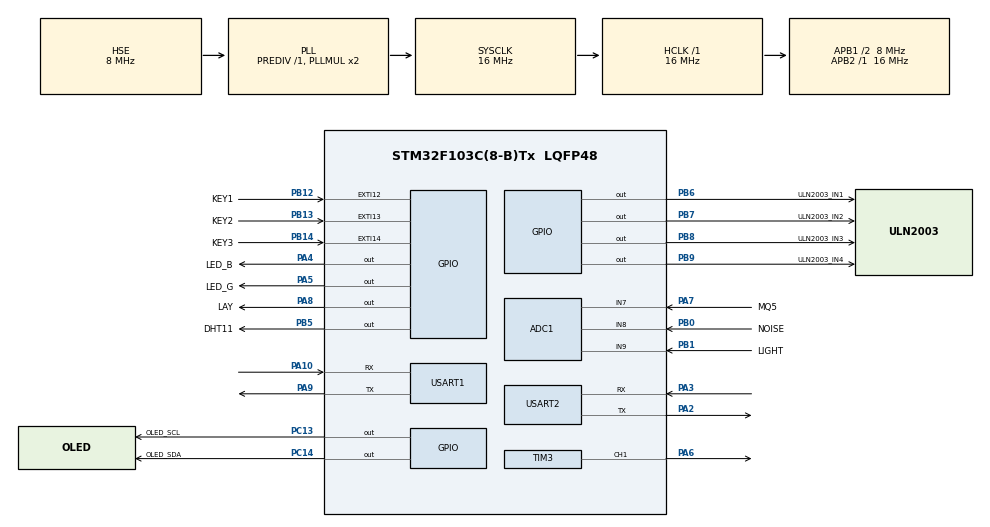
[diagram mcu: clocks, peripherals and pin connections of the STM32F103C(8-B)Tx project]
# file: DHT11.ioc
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ADC1.Channel-0\#ChannelRegularConversion=ADC_CHANNEL_7
ADC1.NbrOfConversion=1
ADC1.NbrOfConversionFlag=1
ADC1.Rank-0\#ChannelRegularConversion=1
ADC1.SamplingTime-0\#ChannelRegularConversion=ADC_SAMPLETIME_239CYCLES_5
ADC1.master=1
Mcu.Family=STM32F1
Mcu.Name=STM32F103C(8-B)Tx
Mcu.Package=LQFP48
NVIC.EXTI15_10_IRQn=true\:0\:0\:false\:false\:true\:true\:true\:true
NVIC.PriorityGroup=NVIC_PRIORITYGROUP_4
NVIC.USART2_IRQn=true\:2\:0\:true\:false\:true\:true\:true\:true
PA10.Mode=Asynchronous
PA10.Signal=USART1_RX
PA13.Mode=Serial_Wire
PA13.Signal=SYS_JTMS-SWDIO
PA14.Mode=Serial_Wire
PA14.Signal=SYS_JTCK-SWCLK
PA2.Mode=Asynchronous
PA2.Signal=USART2_TX
PA3.Mode=Asynchronous
PA3.Signal=USART2_RX
PA4.GPIO_Label=LED_B
PA4.GPIO_ModeDefaultOutputPP=GPIO_MODE_OUTPUT_PP
PA4.GPIO_PuPd=GPIO_PULLUP
PA4.GPIO_Speed=GPIO_SPEED_FREQ_HIGH
PA4.PinState=GPIO_PIN_SET
PA4.Signal=GPIO_Output
PA5.GPIO_Label=LED_G
PA5.GPIO_ModeDefaultOutputPP=GPIO_MODE_OUTPUT_PP
PA5.GPIO_PuPd=GPIO_PULLUP
PA5.GPIO_Speed=GPIO_SPEED_FREQ_HIGH
PA5.PinState=GPIO_PIN_SET
PA5.Signal=GPIO_Output
PA6.Signal=S_TIM3_CH1
PA7.GPIO_Label=MQ5
PA7.Signal=ADCx_IN7
PA8.GPIO_Label=LAY
PA8.GPIO_ModeDefaultOutputPP=GPIO_MODE_OUTPUT_PP
PA8.GPIO_PuPd=GPIO_PULLDOWN
PA8.GPIO_Speed=GPIO_SPEED_FREQ_HIGH
PA8.PinState=GPIO_PIN_SET
PA8.Signal=GPIO_Output
PA9.Mode=Asynchronous
PA9.Signal=USART1_TX
PB0.GPIO_Label=NOISE
PB0.Signal=ADCx_IN8
PB1.GPIO_Label=LIGHT
PB1.Signal=ADCx_IN9
PB12.GPIO_Label=KEY1
PB12.GPIO_ModeDefaultEXTI=GPIO_MODE_IT_FALLING
PB12.GPIO_PuPd=GPIO_PULLUP
PB12.Signal=GPXTI12
PB13.GPIO_Label=KEY2
PB13.GPIO_ModeDefaultEXTI=GPIO_MODE_IT_FALLING
PB13.GPIO_PuPd=GPIO_PULLUP
PB13.Signal=GPXTI13
PB14.GPIO_Label=KEY3
PB14.GPIO_ModeDefaultEXTI=GPIO_MODE_IT_FALLING
PB14.GPIO_PuPd=GPIO_PULLUP
PB14.Signal=GPXTI14
PB5.GPIO_Label=DHT11
PB5.GPIO_ModeDefaultOutputPP=GPIO_MODE_OUTPUT_PP
PB5.GPIO_PuPd=GPIO_PULLUP
PB5.GPIO_Speed=GPIO_SPEED_FREQ_HIGH
PB5.PinState=GPIO_PIN_SET
PB5.Signal=GPIO_Output
PB6.GPIO_Label=ULN2003_IN1
PB6.GPIO_PuPd=GPIO_PULLUP
PB6.GPIO_Speed=GPIO_SPEED_FREQ_HIGH
PB6.PinState=GPIO_PIN_SET
PB6.Signal=GPIO_Output
PB7.GPIO_Label=ULN2003_IN2
PB7.GPIO_ModeDefaultOutputPP=GPIO_MODE_OUTPUT_PP
PB7.GPIO_PuPd=GPIO_PULLUP
PB7.GPIO_Speed=GPIO_SPEED_FREQ_HIGH
PB7.PinState=GPIO_PIN_SET
PB7.Signal=GPIO_Output
PB8.GPIO_Label=ULN2003_IN3
PB8.GPIO_ModeDefaultOutputPP=GPIO_MODE_OUTPUT_PP
PB8.GPIO_PuPd=GPIO_PULLUP
PB8.GPIO_Speed=GPIO_SPEED_FREQ_HIGH
PB8.PinState=GPIO_PIN_SET
PB8.Signal=GPIO_Output
PB9.GPIO_Label=ULN2003_IN4
PB9.GPIO_ModeDefaultOutputPP=GPIO_MODE_OUTPUT_PP
PB9.GPIO_PuPd=GPIO_PULLUP
PB9.GPIO_Speed=GPIO_SPEED_FREQ_HIGH
PB9.PinState=GPIO_PIN_SET
PB9.Signal=GPIO_Output
PC13-TAMPER-RTC.GPIO_Label=OLED_SCL
PC13-TAMPER-RTC.GPIO_ModeDefaultOutputPP=GPIO_MODE_OUTPUT_PP
PC13-TAMPER-RTC.GPIO_PuPd=GPIO_PULLUP
PC13-TAMPER-RTC.GPIO_Speed=GPIO_SPEED_FREQ_HIGH
PC13-TAMPER-RTC.PinState=GPIO_PIN_SET
PC13-TAMPER-RTC.Signal=GPIO_Output
PC14-OSC32_IN.GPIO_Label=OLED_SDA
PC14-OSC32_IN.GPIO_ModeDefaultOutputPP=GPIO_MODE_OUTPUT_PP
PC14-OSC32_IN.GPIO_PuPd=GPIO_PULLUP
PC14-OSC32_IN.GPIO_Speed=GPIO_SPEED_FREQ_HIGH
PC14-OSC32_IN.PinState=GPIO_PIN_SET
PC14-OSC32_IN.Signal=GPIO_Output
PD0-OSC_IN.Mode=HSE-External-Oscillator
PD0-OSC_IN.Signal=RCC_OSC_IN
PD1-OSC_OUT.Mode=HSE-External-Oscillator
PD1-OSC_OUT.Signal=RCC_OSC_OUT
ProjectManager.HeapSize=0x200
ProjectManager.StackSize=0x400
ProjectManager.TargetToolchain=MDK-ARM V5.32
RCC.AHBFreq_Value=16000000
RCC.APB1CLKDivider=RCC_HCLK_DIV2
RCC.APB1Freq_Value=8000000
RCC.APB1TimFreq_Value=16000000
RCC.APB2Freq_Value=16000000
RCC.APB2TimFreq_Value=16000000
RCC.HCLKFreq_Value=16000000
RCC.PLLSourceVirtual=RCC_PLLSOURCE_HSE
RCC.SYSCLKFreq_VALUE=16000000
RCC.SYSCLKSource=RCC_SYSCLKSOURCE_PLLCLK
RCC.USBFreq_Value=16000000
SH.ADCx_IN7.0=ADC1_IN7,IN7
SH.ADCx_IN8.0=ADC1_IN8,IN8
SH.ADCx_IN9.0=ADC1_IN9,IN9
SH.S_TIM3_CH1.0=TIM3_CH1,PWM Generation1 CH1
TIM3.AutoReloadPreload=TIM_AUTORELOAD_PRELOAD_ENABLE
TIM3.Channel-PWM\ Generation1\ CH1=TIM_CHANNEL_1
TIM3.Period=999
TIM3.Prescaler=71
USART1.VirtualMode=VM_ASYNC
USART2.VirtualMode=VM_ASYNC
VP_TIM3_VS_ClockSourceINT.Mode=Internal
board=custom

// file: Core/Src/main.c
/* USER CODE BEGIN Header */
/**
  ******************************************************************************
  * @file           : main.c
  * @brief          : Main program body
  ******************************************************************************
  * @attention
  *
  * Copyright (c) 2026 STMicroelectronics.
  * All rights reserved.
  *
  * This software is licensed under terms that can be found in the LICENSE file
  * in the root directory of this software component.
  * If no LICENSE file comes with this software, it is provided AS-IS.
  *
  ******************************************************************************
  */
/* USER CODE END Header */
#include "main.h"
#include "adc.h"
#include "tim.h"
#include "usart.h"
#include "gpio.h"

/* USER CODE BEGIN Includes */
#include "dht11.h"
#include "oled.h"
#include "uln2003.h"
#include "stm32f1xx_hal_flash.h"
#include "stm32f1xx_hal_flash_ex.h"
/* USER CODE END Includes */

/* USER CODE BEGIN PD */
#define KEY_DEBOUNCE_MS 200

// Flash存储地址 (使用倒数第2页，避免覆盖程序代码)
// STM32F103C8T6有128页，每页1KB
#define FLASH_STORAGE_ADDR  0x0801F000  // 第126页起始地址
#define FLASH_MAGIC_NUMBER  0x1234ABCD  // 魔数，用于验证数据有效性

// Flash数据结构
typedef struct {
    uint32_t magic;          // 魔数
    uint8_t temp_threshold;  // 温度阈值
    uint8_t humidity_threshold; // 湿度阈值
    uint16_t mq5_threshold;  // MQ5阈值
    uint16_t noise_threshold; // 噪声阈值
    uint16_t light_threshold; // 光照阈值
    uint32_t checksum;       // 校验和
} Flash_Data_t;
/* USER CODE END PD */

/* USER CODE BEGIN PV */
// 阈值变量（可在设置界面修改）
volatile uint16_t noise_threshold = 2000;
volatile uint16_t light_threshold = 300;
volatile uint16_t mq5_threshold = 2000;
volatile uint8_t humidity_threshold = 90;
volatile uint8_t temp_threshold = 20;

// 设置界面状态
volatile uint8_t setting_mode = 0;      // 0:主界面, 1:设置界面
volatile uint8_t setting_item = 0;      // 0:温度, 1:湿度, 2:MQ5, 3:noise, 4:light, 5:退出

// 按键消抖标志
volatile uint8_t key1_pressed = 0;
volatile uint8_t key2_pressed = 0;
volatile uint8_t key3_pressed = 0;
volatile uint32_t key_debounce_time = 0;
/* USER CODE END PV */

void SystemClock_Config(void);

/* USER CODE BEGIN 0 */
// 简单步进电机测试 - 4拍驱动
const uint8_t motor_seq[4] = {0x01, 0x02, 0x04, 0x08}; // IN1, IN2, IN3, IN4

// 步进电机标志
uint8_t stepper_flag = 0;

// USART2中断接收变量
extern uint8_t rx_data;
extern uint8_t rx_index;
extern uint8_t rx_buffer[];
extern uint32_t last_rx_time;
#define RX_TIMEOUT_MS 1000

// 函数声明
void Show_Main_Interface(void);
void Show_Setting_Interface(void);
void Update_Setting_Value(void);
void Update_Setting_Indicator(void);
void Process_Setting(void);
void Stepper_Test(void);
void Flash_Save_Thresholds(void);
void Flash_Load_Thresholds(void);
uint32_t Calculate_Checksum(Flash_Data_t *data);

// 计算校验和
uint32_t Calculate_Checksum(Flash_Data_t *data)
{
    uint32_t checksum = 0;
    checksum += data->magic;
    checksum += data->temp_threshold;
    checksum += data->humidity_threshold;
    checksum += data->mq5_threshold;
    checksum += data->noise_threshold;
    checksum += data->light_threshold;
    return checksum;
}

// 从Flash读取阈值参数
void Flash_Load_Thresholds(void)
{
    Flash_Data_t *flash_data = (Flash_Data_t *)FLASH_STORAGE_ADDR;

    // 检查魔数和校验和
    if(flash_data->magic == FLASH_MAGIC_NUMBER)
    {
        uint32_t calc_checksum = Calculate_Checksum(flash_data);
        if(calc_checksum == flash_data->checksum)
        {
            // 数据有效，加载阈值
            temp_threshold = flash_data->temp_threshold;
            humidity_threshold = flash_data->humidity_threshold;
            mq5_threshold = flash_data->mq5_threshold;
            noise_threshold = flash_data->noise_threshold;
            light_threshold = flash_data->light_threshold;
            printf("Flash: Thresholds loaded successfully\r\n");
            return;
        }
    }

    // 数据无效，使用默认值
    printf("Flash: No valid data found, using defaults\r\n");
}

// 保存阈值参数到Flash
void Flash_Save_Thresholds(void)
{
    HAL_StatusTypeDef status;
    Flash_Data_t flash_data;
    uint32_t PageError = 0;
    FLASH_EraseInitTypeDef EraseInitStruct;

    // 填充数据结构
    flash_data.magic = FLASH_MAGIC_NUMBER;
    flash_data.temp_threshold = temp_threshold;
    flash_data.humidity_threshold = humidity_threshold;
    flash_data.mq5_threshold = mq5_threshold;
    flash_data.noise_threshold = noise_threshold;
    flash_data.light_threshold = light_threshold;
    flash_data.checksum = Calculate_Checksum(&flash_data);

    // 解锁Flash
    HAL_FLASH_Unlock();

    // 擦除页
    EraseInitStruct.TypeErase = FLASH_TYPEERASE_PAGES;
    EraseInitStruct.PageAddress = FLASH_STORAGE_ADDR;
    EraseInitStruct.NbPages = 1;
    status = HAL_FLASHEx_Erase(&EraseInitStruct, &PageError);

    if(status != HAL_OK)
    {
        printf("Flash: Erase failed\r\n");
        HAL_FLASH_Lock();
        return;
    }

    // 写入数据（按半字写入）
    uint16_t *data_ptr = (uint16_t *)&flash_data;
    uint32_t addr = FLASH_STORAGE_ADDR;
    uint32_t data_size = sizeof(Flash_Data_t);

    for(uint32_t i = 0; i < (data_size / 2); i++)
    {
        status = HAL_FLASH_Program(FLASH_TYPEPROGRAM_HALFWORD, addr + (i * 2), data_ptr[i]);
        if(status != HAL_OK)
        {
            printf("Flash: Write failed at offset %d\r\n", i);
            HAL_FLASH_Lock();
            return;
        }
    }

    // 锁定Flash
    HAL_FLASH_Lock();

    printf("Flash: Thresholds saved successfully\r\n");
}

void Stepper_Test(void)
{
    // 转30度，约170步 (28BYJ-48: 4096步/圈)
    uint16_t steps = 170;
    uint8_t i, j;

    printf("DEBUG: Stepper motor start\r\n");

    for(i = 0; i < steps; i++)
    {
        for(j = 0; j < 4; j++)
        {
            uint8_t val = motor_seq[j];
            HAL_GPIO_WritePin(ULN2003_IN1_GPIO_Port, ULN2003_IN1_Pin, (val & 0x01) ? GPIO_PIN_SET : GPIO_PIN_RESET);
            HAL_GPIO_WritePin(ULN2003_IN2_GPIO_Port, ULN2003_IN2_Pin, (val & 0x02) ? GPIO_PIN_SET : GPIO_PIN_RESET);
            HAL_GPIO_WritePin(ULN2003_IN3_GPIO_Port, ULN2003_IN3_Pin, (val & 0x04) ? GPIO_PIN_SET : GPIO_PIN_RESET);
            HAL_GPIO_WritePin(ULN2003_IN4_GPIO_Port, ULN2003_IN4_Pin, (val & 0x08) ? GPIO_PIN_SET : GPIO_PIN_RESET);

            // 使用非阻塞延时
            uint32_t start = HAL_GetTick();
            while(HAL_GetTick() - start < 15);
        }
    }

    // 停止
    HAL_GPIO_WritePin(ULN2003_IN1_GPIO_Port, ULN2003_IN1_Pin, GPIO_PIN_RESET);
    HAL_GPIO_WritePin(ULN2003_IN2_GPIO_Port, ULN2003_IN2_Pin, GPIO_PIN_RESET);
    HAL_GPIO_WritePin(ULN2003_IN3_GPIO_Port, ULN2003_IN3_Pin, GPIO_PIN_RESET);
    HAL_GPIO_WritePin(ULN2003_IN4_GPIO_Port, ULN2003_IN4_Pin, GPIO_PIN_RESET);

    printf("DEBUG: Stepper motor stop\r\n");
}

// 显示主界面
void Show_Main_Interface(void)
{
    OLED_Clear();
    OLED_ShowString(0, 0, (uint8_t*)"H:", 8, 1);
    OLED_ShowString(65, 0, (uint8_t*)"T:", 8, 1);
    OLED_ShowString(0, 8, (uint8_t*)"MQ5:", 8, 1);
    OLED_ShowString(0, 16, (uint8_t*)"Noise:", 8, 1);
    OLED_ShowString(0, 24, (uint8_t*)"Light:", 8, 1);
    OLED_Refresh();
}

// 显示设置界面
void Show_Setting_Interface(void)
{
    OLED_Clear();
    OLED_ShowString(30, 0, (uint8_t*)"SETTING", 8, 1);

    // 显示温度阈值 (10-40, 2位)
    OLED_ShowString(0, 8, (uint8_t*)"Temp:", 8, 1);
    OLED_ShowNum(35, 8, temp_threshold, 2, 8, 1);

    // 显示湿度阈值 (60-100, 3位)
    OLED_ShowString(65, 8, (uint8_t*)"Hum:", 8, 1);
    OLED_ShowNum(95, 8, humidity_threshold, 3, 8, 1);

    // 显示MQ5阈值 (2000-3000, 4位)
    OLED_ShowString(0, 16, (uint8_t*)"MQ5:", 8, 1);
    OLED_ShowNum(30, 16, mq5_threshold, 4, 8, 1);

    // 显示Noise阈值 (1000-2000, 4位)
    OLED_ShowString(65, 16, (uint8_t*)"N:", 8, 1);
    OLED_ShowNum(78, 16, noise_threshold, 4, 8, 1);

    // 显示Light阈值 (100-300, 3位)
    OLED_ShowString(0, 24, (uint8_t*)"Light:", 8, 1);
    OLED_ShowNum(42, 24, light_threshold, 3, 8, 1);

    // 始终显示Exit文本（在右下角，位置80，指示器在104）
    OLED_ShowString(80, 24, (uint8_t*)"Exit", 8, 1);

    // 显示当前选中项的指示 (放在数值后面，避免覆盖)
    switch(setting_item)
    {
        case 0: // 温度: 35+2*6=47, 指示器放在49
            OLED_ShowChar(49, 8, '<', 8, 1);
            break;
        case 1: // 湿度: 95+3*6=113, 指示器放在115
            OLED_ShowChar(115, 8, '<', 8, 1);
            break;
        case 2: // MQ5: 30+4*6=54, 指示器放在56
            OLED_ShowChar(56, 16, '<', 8, 1);
            break;
        case 3: // Noise: 78+4*6=102, 指示器放在104
            OLED_ShowChar(104, 16, '<', 8, 1);
            break;
        case 4: // Light: 42+3*6=60, 指示器放在62
            OLED_ShowChar(62, 24, '<', 8, 1);
            break;
        case 5: // 退出: 在Exit后面显示指示器 (80+4*6=104, 放106)
            OLED_ShowChar(106, 24, '<', 8, 1);
            break;
    }

    OLED_Refresh();
}

// 更新设置界面中当前选中项的数值显示（不清屏，避免闪烁）
void Update_Setting_Value(void)
{
    switch(setting_item)
    {
        case 0: // 温度 (位置35, 2位)
            OLED_ShowNum(35, 8, temp_threshold, 2, 8, 1);
            break;
        case 1: // 湿度 (位置95, 3位)
            OLED_ShowNum(95, 8, humidity_threshold, 3, 8, 1);
            break;
        case 2: // MQ5 (位置30, 4位)
            OLED_ShowNum(30, 16, mq5_threshold, 4, 8, 1);
            break;
        case 3: // Noise (位置78, 4位)
            OLED_ShowNum(78, 16, noise_threshold, 4, 8, 1);
            break;
        case 4: // Light (位置42, 3位)
            OLED_ShowNum(42, 24, light_threshold, 3, 8, 1);
            break;
    }
    OLED_Refresh();
}

// 更新设置界面中的选中指示器（切换选项时调用）
void Update_Setting_Indicator(void)
{
    // 先清除所有指示器位置（用空格覆盖）
    OLED_ShowChar(49, 8, ' ', 8, 1);   // 温度指示器位置 (35+2*6=47, 放49)
    OLED_ShowChar(115, 8, ' ', 8, 1);  // 湿度指示器位置 (95+3*6=113, 放115)
    OLED_ShowChar(56, 16, ' ', 8, 1);  // MQ5指示器位置 (30+4*6=54, 放56)
    OLED_ShowChar(104, 16, ' ', 8, 1); // Noise指示器位置 (78+4*6=102, 放104)
    OLED_ShowChar(62, 24, ' ', 8, 1);  // Light指示器位置 (42+3*6=60, 放62)
    OLED_ShowChar(106, 24, ' ', 8, 1); // 退出指示器位置 (80+4*6=104, 放106)

    // 显示当前选中项的指示
    switch(setting_item)
    {
        case 0: // 温度
            OLED_ShowChar(49, 8, '<', 8, 1);
            break;
        case 1: // 湿度
            OLED_ShowChar(115, 8, '<', 8, 1);
            break;
        case 2: // MQ5
            OLED_ShowChar(56, 16, '<', 8, 1);
            break;
        case 3: // Noise
            OLED_ShowChar(104, 16, '<', 8, 1);
            break;
        case 4: // Light
            OLED_ShowChar(62, 24, '<', 8, 1);
            break;
        case 5: // 退出
            OLED_ShowChar(106, 24, '<', 8, 1);
            break;
    }
    OLED_Refresh();
}

// 处理设置界面的按键操作
void Process_Setting(void)
{
    // 处理KEY1 - 切换设置项
    if(key1_pressed)
    {
        key1_pressed = 0;
        setting_item++;
        if(setting_item > 5)
        {
            setting_item = 0;
            setting_mode = 0;  // 退出设置界面
            Flash_Save_Thresholds();  // 保存阈值到Flash
            Show_Main_Interface();
            return;
        }
        Update_Setting_Indicator(); // 只更新指示器，不清屏
    }

    // 处理KEY2 - 增加
    if(key2_pressed)
    {
        key2_pressed = 0;
        switch(setting_item)
        {
            case 0: // 温度: 10-40循环,步长1
                temp_threshold++;
                if(temp_threshold > 40)
                    temp_threshold = 10;
                break;
            case 1: // 湿度: 60-100循环,步长1
                humidity_threshold++;
                if(humidity_threshold > 100)
                    humidity_threshold = 60;
                break;
            case 2: // MQ5: 2000-3000循环,步长100
                mq5_threshold += 100;
                if(mq5_threshold > 3000)
                    mq5_threshold = 2000;
                break;
            case 3: // Noise: 1000-2000循环,步长100
                noise_threshold += 100;
                if(noise_threshold > 2000)
                    noise_threshold = 1000;
                break;
            case 4: // Light: 100-300循环,步长10
                light_threshold += 10;
                if(light_threshold > 300)
                    light_threshold = 100;
                break;
        }
        Update_Setting_Value(); // 只更新数值，不清屏
    }

    // 处理KEY3 - 减少
    if(key3_pressed)
    {
        key3_pressed = 0;
        switch(setting_item)
        {
            case 0: // 温度: 10-40循环,步长1
                temp_threshold--;
                if(temp_threshold < 10)
                    temp_threshold = 40;
                break;
            case 1: // 湿度: 60-100循环,步长1
                humidity_threshold--;
                if(humidity_threshold < 60)
                    humidity_threshold = 100;
                break;
            case 2: // MQ5: 2000-3000循环,步长100
                if(mq5_threshold >= 2100)
                    mq5_threshold -= 100;
                else
                    mq5_threshold = 3000;
                break;
            case 3: // Noise: 1000-2000循环,步长100
                if(noise_threshold >= 1100)
                    noise_threshold -= 100;
                else
                    noise_threshold = 2000;
                break;
            case 4: // Light: 100-300循环,步长10
                if(light_threshold >= 110)
                    light_threshold -= 10;
                else
                    light_threshold = 300;
                break;
        }
        Update_Setting_Value(); // 只更新数值，不清屏
    }
}
/* USER CODE END 0 */

int main(void)
{

  /* USER CODE BEGIN 1 */
DHT11_Data_t dht_data;
  /* USER CODE END 1 */

  /* MCU Configuration--------------------------------------------------------*/

  /* Reset of all peripherals, Initializes the Flash interface and the Systick. */
  HAL_Init();

  /* Configure the system clock */
  SystemClock_Config();

  /* Initialize all configured peripherals */
  MX_GPIO_Init();
  MX_USART1_UART_Init();
  MX_ADC1_Init();
  MX_USART2_UART_Init();
  MX_TIM3_Init();
  /* USER CODE BEGIN 2 */
   printf("go\r\n");
   OLED_Init();
   OLED_Clear();

   OLED_ShowString(0, 0, (uint8_t*)"H:", 8, 1);
   OLED_ShowString(65, 0, (uint8_t*)"T:", 8, 1);
   OLED_ShowString(0, 8, (uint8_t*)"MQ5:", 8, 1);
   OLED_ShowString(0, 16, (uint8_t*)"Noise:", 8, 1);
   OLED_ShowString(0, 24, (uint8_t*)"Light:", 8, 1);
   OLED_Refresh();

   // 初始化LAY引脚为低电平
   HAL_GPIO_WritePin(LAY_GPIO_Port, LAY_Pin, GPIO_PIN_RESET);

   // 拉高LED_G和LED_B，不再使用
   HAL_GPIO_WritePin(LED_G_GPIO_Port, LED_G_Pin, GPIO_PIN_SET);
   HAL_GPIO_WritePin(LED_B_GPIO_Port, LED_B_Pin, GPIO_PIN_SET);

   // 启动TIM3 PWM输出
   HAL_TIM_PWM_Start(&htim3, TIM_CHANNEL_1);

   // 测试USART2发送
   HAL_UART_Transmit(&huart2, (uint8_t*)"USART2 Ready\r\n", 13, 100);

   // 从Flash加载阈值参数
   Flash_Load_Thresholds();

   // ULN2003_Init(); // 暂时注释掉，使用简单测试函数
   // ULN2003_SetSpeed(ULN2003_SPEED_SLOW);
  /* USER CODE END 2 */

  /* Infinite loop */
  /* USER CODE BEGIN WHILE */
  uint16_t mq5_value, noise_value, light_value;
  uint8_t dht11_ok = 0;
  static uint8_t humidity_over = 0;  // 湿度超过阈值标志
  static uint8_t noise_over = 0;     // 噪音超过阈值标志
  static uint8_t mq5_over = 0;       // MQ5超过阈值标志

  while (1)
  {
    /* USER CODE END WHILE */

    /* USER CODE BEGIN 3 */
		// 处理设置模式
		if(setting_mode)
		{
			Process_Setting();
			// 在设置模式下，只处理按键，不更新主界面显示
		}
		else
		{
			// 主界面模式：检查KEY1是否按下进入设置界面
			if(key1_pressed)
			{
				key1_pressed = 0;
				setting_mode = 1;
				setting_item = 0;
				Show_Setting_Interface();
				continue;  // 跳过本次循环的其余部分
			}

			// 检查串口接收超时
			if(rx_index > 0 && (HAL_GetTick() - last_rx_time) > RX_TIMEOUT_MS)
			{
				printf("DEBUG: RX timeout, resetting buffer\r\n");
				rx_index = 0;
				// 直接重置索引，usart.c 会处理缓冲区
			}

			dht11_ok = (DHT11_READ_DATA(&dht_data) == 0);

			if(dht11_ok)
{
	OLED_ShowNum(10, 0, dht_data.humidity_int, 2, 8, 1);
	OLED_ShowChar(25, 0, '.', 8, 1);
	OLED_ShowNum(30, 0, dht_data.humidity_dec, 1, 8, 1);
	OLED_ShowChar(38, 0, '%', 8, 1);

	OLED_ShowNum(75, 0, dht_data.temp_int, 2, 8, 1);
	OLED_ShowChar(90, 0, '.', 8, 1);
	OLED_ShowNum(95, 0, dht_data.temp_dec, 1, 8, 1);
	OLED_ShowChar(103, 0, 'C', 8, 1);

	if(dht_data.humidity_int > humidity_threshold)
	{
		HAL_UART_Transmit(&huart2, (uint8_t*)"Humidity Too High\r\n", 19, 100);
		Stepper_Test(); // 步进电机转动30度
		// HAL_GPIO_WritePin(LED_R_GPIO_Port, LED_R_Pin, GPIO_PIN_RESET); // 点亮LED_R (低电平) - 注释掉
		humidity_over = 1;  // 标记已超阈值
	}
	else if(humidity_over)  // 湿度小于等于阈值且之前超过过
	{
		// HAL_GPIO_WritePin(LED_R_GPIO_Port, LED_R_Pin, GPIO_PIN_SET); // 熄灭LED_R (高电平) - 注释掉
		humidity_over = 0;  // 清除标志，下次超阈值才能再次点亮
	}

	if(dht_data.temp_int > temp_threshold)
	{
		HAL_UART_Transmit(&huart2, (uint8_t*)"Temperature Too High\r\n", 22, 100);
		HAL_GPIO_WritePin(LAY_GPIO_Port, LAY_Pin, GPIO_PIN_SET); // 拉高LAY，驱动继电器
	}
	else
	{
		HAL_GPIO_WritePin(LAY_GPIO_Port, LAY_Pin, GPIO_PIN_RESET); // 拉低LAY，关闭继电器
	}
}

ADC_Read_All(&mq5_value, &noise_value, &light_value);

OLED_ShowNum(30, 8, mq5_value, 4, 8, 1);
OLED_ShowNum(40, 16, noise_value, 4, 8, 1);
OLED_ShowNum(40, 24, light_value, 4, 8, 1);

OLED_Refresh();

if(noise_value > noise_threshold)
{
	HAL_UART_Transmit(&huart2, (uint8_t*)"Noise High\r\n", 12, 100);
	// HAL_GPIO_WritePin(LED_B_GPIO_Port, LED_B_Pin, GPIO_PIN_RESET); // 点亮LED_B (低电平) - 注释掉
	noise_over = 1;  // 标记已超阈值
}
else if(noise_over)  // 噪音小于等于阈值且之前超过过
{
	// HAL_GPIO_WritePin(LED_B_GPIO_Port, LED_B_Pin, GPIO_PIN_SET); // 熄灭LED_B (高电平) - 注释掉
	noise_over = 0;  // 清除标志
}

if(mq5_value > mq5_threshold)
{
	HAL_UART_Transmit(&huart2, (uint8_t*)"Air Quality Poor\r\n", 18, 100);
	// HAL_GPIO_WritePin(LED_G_GPIO_Port, LED_G_Pin, GPIO_PIN_RESET); // 点亮LED_G (低电平) - 注释掉
	mq5_over = 1;  // 标记已超阈值
}
else if(mq5_over)  // MQ5小于等于阈值且之前超过过
{
	// HAL_GPIO_WritePin(LED_G_GPIO_Port, LED_G_Pin, GPIO_PIN_SET); // 熄灭LED_G (高电平) - 注释掉
	mq5_over = 0;  // 清除标志
}

// 根据光照亮度调节PWM输出，光照越亮，LED越暗
// 光照值范围假设为0-4095，PWM占空比范围为0-999
uint16_t pwm_value = 999 - (light_value * 999 / 4095);
__HAL_TIM_SET_COMPARE(&htim3, TIM_CHANNEL_1, pwm_value);

if(light_value < light_threshold)
{
	HAL_UART_Transmit(&huart2, (uint8_t*)"Light Too Strong\r\n", 18, 100);
}
		}

		// 检查步进电机标志
		if(stepper_flag)
		{
			Stepper_Test();
			stepper_flag = 0;
		}

		HAL_Delay(2000);
  }
  /* USER CODE END 3 */
}

void SystemClock_Config(void)
{
  RCC_OscInitTypeDef RCC_OscInitStruct = {0};
  RCC_ClkInitTypeDef RCC_ClkInitStruct = {0};
  RCC_PeriphCLKInitTypeDef PeriphClkInit = {0};

  /** Initializes the RCC Oscillators according to the specified parameters
  * in the RCC_OscInitTypeDef structure.
  */
  RCC_OscInitStruct.OscillatorType = RCC_OSCILLATORTYPE_HSE;
  RCC_OscInitStruct.HSEState = RCC_HSE_ON;
  RCC_OscInitStruct.HSEPredivValue = RCC_HSE_PREDIV_DIV1;
  RCC_OscInitStruct.HSIState = RCC_HSI_ON;
  RCC_OscInitStruct.PLL.PLLState = RCC_PLL_ON;
  RCC_OscInitStruct.PLL.PLLSource = RCC_PLLSOURCE_HSE;
  RCC_OscInitStruct.PLL.PLLMUL = RCC_PLL_MUL2;
  if (HAL_RCC_OscConfig(&RCC_OscInitStruct) != HAL_OK)
  {
    Error_Handler();
  }

  /** Initializes the CPU, AHB and APB buses clocks
  */
  RCC_ClkInitStruct.ClockType = RCC_CLOCKTYPE_HCLK|RCC_CLOCKTYPE_SYSCLK
                              |RCC_CLOCKTYPE_PCLK1|RCC_CLOCKTYPE_PCLK2;
  RCC_ClkInitStruct.SYSCLKSource = RCC_SYSCLKSOURCE_PLLCLK;
  RCC_ClkInitStruct.AHBCLKDivider = RCC_SYSCLK_DIV1;
  RCC_ClkInitStruct.APB1CLKDivider = RCC_HCLK_DIV2;
  RCC_ClkInitStruct.APB2CLKDivider = RCC_HCLK_DIV1;

  if (HAL_RCC_ClockConfig(&RCC_ClkInitStruct, FLASH_LATENCY_0) != HAL_OK)
  {
    Error_Handler();
  }
  PeriphClkInit.PeriphClockSelection = RCC_PERIPHCLK_ADC;
  PeriphClkInit.AdcClockSelection = RCC_ADCPCLK2_DIV2;
  if (HAL_RCCEx_PeriphCLKConfig(&PeriphClkInit) != HAL_OK)
  {
    Error_Handler();
  }
}

void Error_Handler(void)
{
  __disable_irq();
  while (1)
  {
  }
}
